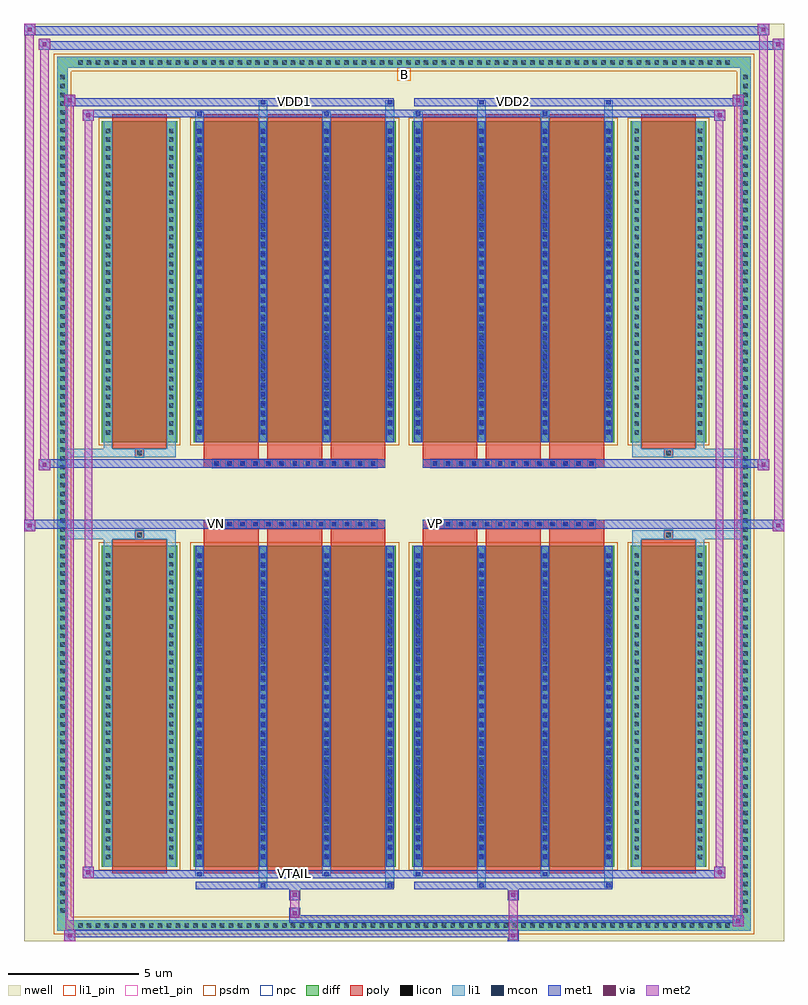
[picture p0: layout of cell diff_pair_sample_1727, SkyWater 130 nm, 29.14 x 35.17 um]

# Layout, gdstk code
import gdstk
lib = gdstk.Library(unit=1e-6, precision=5e-09)
def R(c, l, rs):  # rectangles x0, y0, x1, y1
    for r in rs: c.add(gdstk.rectangle(r[:2], r[2:], *l))
def A(c, l, x, y, w, h, nx, ny, dx, dy):  # array of equal rectangles
    R(c, l, [(x+i*dx, y+j*dy, x+i*dx+w, y+j*dy+h) for i in range(nx) for j in range(ny)])
def P(c, l, *ps):  # polygons
    for p in ps: c.add(gdstk.Polygon(p, *l))
nwell = (64, 20)
diff = (65, 20)
poly = (66, 20)
licon = (66, 44)
li1_pin = (67, 16)
li1 = (67, 20)
mcon = (67, 44)
met1_pin = (68, 16)
met1 = (68, 20)
via = (68, 44)
met2 = (69, 20)
psdm = (94, 20)
npc = (95, 20)

diff_pair_sample_1727 = lib.new_cell('diff_pair_sample_1727')
R(diff_pair_sample_1727, nwell, [(-14.57,-17.15,14.57,18.02), (-11.89,-15.34,-0.01,-0.8), (0.01,-15.34,11.89,-0.8), (-11.89,0.8,-0.01,15.34), (0.01,0.8,11.89,15.34)])
A(diff_pair_sample_1727, diff, -12.615, -16.75, 0.41, 0.41, 74, 2, 0.34, 33.09)
A(diff_pair_sample_1727, diff, -13.3, -16.185, 0.41, 0.41, 1, 95, 0, 0.34)
A(diff_pair_sample_1727, diff, 12.89, -16.185, 0.41, 0.41, 1, 95, 0, 0.34)
R(diff_pair_sample_1727, diff, [(-12.615,-16.75,12.615,-16.34), (-13.3,-16.185,-12.89,16.185), (12.89,-16.185,13.3,16.185), (-11.58,-14.295,-8.7,-1.985), (-8.06,-14.295,-0.32,-1.985), (0.32,-14.295,8.06,-1.985), (8.7,-14.295,11.58,-1.985), (-11.58,1.985,-8.7,14.295), (-8.06,1.985,-0.32,14.295), (0.32,1.985,8.06,14.295), (8.7,1.985,11.58,14.295), (-12.615,16.34,12.615,16.75)])
P(diff_pair_sample_1727, diff, [(13.3,16.75),(-13.3,16.75),(-13.3,-16.34),(-12.89,-16.34),(-12.89,16.34),(12.89,16.34),(12.89,-16.34),(-12.89,-16.34),(-13.3,-16.34),(-13.3,-16.75),(13.3,-16.75)])
A(diff_pair_sample_1727, poly, -7.67, -14.545, 2.1, 12.81, 3, 2, 2.43, 16.28)
A(diff_pair_sample_1727, poly, 0.71, -14.545, 2.1, 12.81, 3, 2, 2.43, 16.28)
A(diff_pair_sample_1727, poly, -7.67, -1.735, 2.1, 0.405, 3, 2, 2.43, 3.065)
A(diff_pair_sample_1727, poly, 0.71, -1.735, 2.1, 0.405, 3, 2, 2.43, 3.065)
A(diff_pair_sample_1727, poly, -7.355, -1.33, 0.33, 0.33, 13, 2, 0.5, 2.33)
A(diff_pair_sample_1727, poly, 1.025, -1.33, 0.33, 0.33, 13, 2, 0.5, 2.33)
R(diff_pair_sample_1727, poly, [(-11.19,-14.545,-9.09,-1.735), (9.09,-14.545,11.19,-1.735), (-10.305,-1.735,-9.975,-1.405), (-10.305,-1.735,-9.975,-1.405), (9.975,-1.735,10.305,-1.405), (9.975,-1.735,10.305,-1.405), (-7.67,-1.33,-0.71,-1), (0.71,-1.33,7.67,-1), (-7.67,1,-0.71,1.33), (0.71,1,7.67,1.33), (-10.305,1.405,-9.975,1.735), (-10.305,1.405,-9.975,1.735), (9.975,1.405,10.305,1.735), (9.975,1.405,10.305,1.735), (-11.19,1.735,-9.09,14.545), (9.09,1.735,11.19,14.545)])
A(diff_pair_sample_1727, licon, -12.495, -16.63, 0.17, 0.17, 74, 2, 0.34, 33.09)
A(diff_pair_sample_1727, licon, -13.18, -16.065, 0.17, 0.17, 1, 95, 0, 0.34)
A(diff_pair_sample_1727, licon, 13.01, -16.065, 0.17, 0.17, 1, 95, 0, 0.34)
A(diff_pair_sample_1727, licon, -11.44, -14.005, 0.17, 0.17, 1, 35, 0, 0.34)
A(diff_pair_sample_1727, licon, -9.01, -14.005, 0.17, 0.17, 1, 35, 0, 0.34)
A(diff_pair_sample_1727, licon, -7.92, -14.005, 0.17, 0.17, 4, 35, 2.43, 0.34)
A(diff_pair_sample_1727, licon, 0.46, -14.005, 0.17, 0.17, 4, 35, 2.43, 0.34)
A(diff_pair_sample_1727, licon, 8.84, -14.005, 0.17, 0.17, 1, 35, 0, 0.34)
A(diff_pair_sample_1727, licon, 11.27, -14.005, 0.17, 0.17, 1, 35, 0, 0.34)
A(diff_pair_sample_1727, licon, -7.275, -1.25, 0.17, 0.17, 13, 2, 0.5, 2.33)
A(diff_pair_sample_1727, licon, 1.105, -1.25, 0.17, 0.17, 13, 2, 0.5, 2.33)
A(diff_pair_sample_1727, licon, -11.44, 2.275, 0.17, 0.17, 1, 35, 0, 0.34)
A(diff_pair_sample_1727, licon, -9.01, 2.275, 0.17, 0.17, 1, 35, 0, 0.34)
A(diff_pair_sample_1727, licon, -7.92, 2.275, 0.17, 0.17, 4, 35, 2.43, 0.34)
A(diff_pair_sample_1727, licon, 0.46, 2.275, 0.17, 0.17, 4, 35, 2.43, 0.34)
A(diff_pair_sample_1727, licon, 8.84, 2.275, 0.17, 0.17, 1, 35, 0, 0.34)
A(diff_pair_sample_1727, licon, 11.27, 2.275, 0.17, 0.17, 1, 35, 0, 0.34)
R(diff_pair_sample_1727, licon, [(-10.225,-1.655,-10.055,-1.485), (10.055,-1.655,10.225,-1.485), (-10.225,1.485,-10.055,1.655), (10.055,1.485,10.225,1.655)])
R(diff_pair_sample_1727, li1_pin, [(-0.25,15.84,0.25,16.34)])
A(diff_pair_sample_1727, li1, -12.575, -16.71, 0.33, 0.33, 74, 2, 0.34, 33.09)
A(diff_pair_sample_1727, li1, -13.26, -16.145, 0.33, 0.33, 1, 95, 0, 0.34)
A(diff_pair_sample_1727, li1, 12.93, -16.145, 0.33, 0.33, 1, 95, 0, 0.34)
A(diff_pair_sample_1727, li1, -8, -14.295, 0.33, 12.31, 4, 2, 2.43, 16.28)
A(diff_pair_sample_1727, li1, 0.38, -14.295, 0.33, 12.31, 4, 2, 2.43, 16.28)
A(diff_pair_sample_1727, li1, -11.52, -14.085, 0.33, 0.33, 1, 35, 0, 0.34)
A(diff_pair_sample_1727, li1, -9.09, -14.085, 0.33, 0.33, 1, 35, 0, 0.34)
A(diff_pair_sample_1727, li1, -8, -14.085, 0.33, 0.33, 4, 35, 2.43, 0.34)
A(diff_pair_sample_1727, li1, 0.38, -14.085, 0.33, 0.33, 4, 35, 2.43, 0.34)
A(diff_pair_sample_1727, li1, 8.76, -14.085, 0.33, 0.33, 1, 35, 0, 0.34)
A(diff_pair_sample_1727, li1, 11.19, -14.085, 0.33, 0.33, 1, 35, 0, 0.34)
A(diff_pair_sample_1727, li1, -7.92, -13.985, 0.17, 0.17, 4, 33, 2.43, 0.36)
A(diff_pair_sample_1727, li1, -7.92, -13.985, 0.17, 11.69, 4, 2, 2.43, 16.28)
A(diff_pair_sample_1727, li1, 0.46, -13.985, 0.17, 0.17, 4, 33, 2.43, 0.36)
A(diff_pair_sample_1727, li1, 0.46, -13.985, 0.17, 11.69, 4, 2, 2.43, 16.28)
A(diff_pair_sample_1727, li1, -7.355, -1.33, 0.33, 0.33, 13, 2, 0.5, 2.33)
A(diff_pair_sample_1727, li1, 1.025, -1.33, 0.33, 0.33, 13, 2, 0.5, 2.33)
A(diff_pair_sample_1727, li1, -11.52, 2.195, 0.33, 0.33, 1, 35, 0, 0.34)
A(diff_pair_sample_1727, li1, -9.09, 2.195, 0.33, 0.33, 1, 35, 0, 0.34)
A(diff_pair_sample_1727, li1, -8, 2.195, 0.33, 0.33, 4, 35, 2.43, 0.34)
A(diff_pair_sample_1727, li1, 0.38, 2.195, 0.33, 0.33, 4, 35, 2.43, 0.34)
A(diff_pair_sample_1727, li1, 8.76, 2.195, 0.33, 0.33, 1, 35, 0, 0.34)
A(diff_pair_sample_1727, li1, 11.19, 2.195, 0.33, 0.33, 1, 35, 0, 0.34)
A(diff_pair_sample_1727, li1, -7.92, 2.295, 0.17, 0.17, 4, 33, 2.43, 0.36)
A(diff_pair_sample_1727, li1, 0.46, 2.295, 0.17, 0.17, 4, 33, 2.43, 0.36)
R(diff_pair_sample_1727, li1, [(-13.3,-16.75,-12.89,-16.34), (-13.3,-16.75,-12.89,-16.34), (-12.89,-16.75,12.89,-16.34), (12.89,-16.75,13.3,-16.34), (12.89,-16.75,13.3,-16.34), (-13.3,-16.34,-12.89,16.34), (12.89,-16.34,13.3,16.34), (-5.57,-15.1,-5.24,-14.295), (-5.49,-15.1,-5.32,-14.93), (-0.71,-15.1,-0.38,-14.295), (-0.63,-15.1,-0.46,-14.93), (2.81,-15.1,3.14,-14.295), (2.89,-15.1,3.06,-14.93), (7.67,-15.1,8,-14.295), (7.75,-15.1,7.92,-14.93), (-8,-14.67,-7.67,-14.295), (-7.92,-14.67,-7.75,-14.5), (-3.14,-14.67,-2.81,-14.295), (-3.06,-14.67,-2.89,-14.5), (0.38,-14.67,0.71,-14.295), (0.46,-14.67,0.63,-14.5), (5.24,-14.67,5.57,-14.295), (5.32,-14.67,5.49,-14.5), (-11.52,-14.295,-11.19,-1.985), (-9.09,-14.295,-8.76,-1.985), (8.76,-14.295,9.09,-1.985), (11.19,-14.295,11.52,-1.985), (-11.52,-1.985,-11.19,-1.405), (-9.09,-1.985,-8.76,-1.405), (8.76,-1.985,9.09,-1.405), (11.19,-1.985,11.52,-1.405), (-13.3,-1.735,-10.305,-1.405), (-11.52,-1.735,-10.305,-1.405), (-10.305,-1.735,-9.975,-1.405), (-9.975,-1.735,-8.76,-1.405), (8.76,-1.735,9.975,-1.405), (9.975,-1.735,10.305,-1.405), (9.975,-1.735,13.3,-1.405), (10.305,-1.735,11.52,-1.405), (-13.3,1.405,-10.305,1.735), (-11.52,1.405,-10.305,1.735), (-11.52,1.405,-11.19,1.985), (-10.305,1.405,-9.975,1.735), (-9.975,1.405,-8.76,1.735), (-9.09,1.405,-8.76,1.985), (8.76,1.405,9.975,1.735), (8.76,1.405,9.09,1.985), (9.975,1.405,10.305,1.735), (9.975,1.405,13.3,1.735), (10.305,1.405,11.52,1.735), (11.19,1.405,11.52,1.985), (-11.52,1.985,-11.19,14.295), (-9.09,1.985,-8.76,14.295), (8.76,1.985,9.09,14.295), (11.19,1.985,11.52,14.295), (-8,14.295,-7.67,14.67), (-5.57,14.295,-5.24,15.1), (-3.14,14.295,-2.81,14.67), (-0.71,14.295,-0.38,15.1), (0.38,14.295,0.71,14.67), (2.81,14.295,3.14,15.1), (5.24,14.295,5.57,14.67), (7.67,14.295,8,15.1), (-7.92,14.5,-7.75,14.67), (-3.06,14.5,-2.89,14.67), (0.46,14.5,0.63,14.67), (5.32,14.5,5.49,14.67), (-5.49,14.93,-5.32,15.1), (-0.63,14.93,-0.46,15.1), (2.89,14.93,3.06,15.1), (7.75,14.93,7.92,15.1), (-13.3,16.34,-12.89,16.75), (-13.3,16.34,-12.89,16.75), (-12.89,16.34,12.89,16.75), (12.89,16.34,13.3,16.75), (12.89,16.34,13.3,16.75)])
A(diff_pair_sample_1727, mcon, -7.92, -13.985, 0.17, 0.17, 4, 33, 2.43, 0.36)
A(diff_pair_sample_1727, mcon, 0.46, -13.985, 0.17, 0.17, 4, 33, 2.43, 0.36)
A(diff_pair_sample_1727, mcon, -7.275, -1.25, 0.17, 0.17, 13, 2, 0.5, 2.33)
A(diff_pair_sample_1727, mcon, 1.105, -1.25, 0.17, 0.17, 13, 2, 0.5, 2.33)
A(diff_pair_sample_1727, mcon, -7.92, 2.295, 0.17, 0.17, 4, 33, 2.43, 0.36)
A(diff_pair_sample_1727, mcon, 0.46, 2.295, 0.17, 0.17, 4, 33, 2.43, 0.36)
R(diff_pair_sample_1727, mcon, [(-5.49,-15.1,-5.32,-14.93), (-0.63,-15.1,-0.46,-14.93), (2.89,-15.1,3.06,-14.93), (7.75,-15.1,7.92,-14.93), (-7.92,-14.67,-7.75,-14.5), (-3.06,-14.67,-2.89,-14.5), (0.46,-14.67,0.63,-14.5), (5.32,-14.67,5.49,-14.5), (-7.92,14.5,-7.75,14.67), (-3.06,14.5,-2.89,14.67), (0.46,14.5,0.63,14.67), (5.32,14.5,5.49,14.67), (-5.49,14.93,-5.32,15.1), (-0.63,14.93,-0.46,15.1), (2.89,14.93,3.06,15.1), (7.75,14.93,7.92,15.1)])
R(diff_pair_sample_1727, met1_pin, [(-4.325,-14.71,-4.055,-14.44), (-7.325,-1.29,-7.055,-1.02), (1.055,-1.29,1.325,-1.02), (-4.325,14.89,-4.055,15.16), (4.055,14.89,4.325,15.16)])
A(diff_pair_sample_1727, met1, -7.98, -14.295, 0.29, 12.31, 4, 2, 2.43, 16.28)
A(diff_pair_sample_1727, met1, 0.4, -14.295, 0.29, 12.31, 4, 2, 2.43, 16.28)
A(diff_pair_sample_1727, met1, -7.98, -14.045, 0.29, 0.29, 4, 33, 2.43, 0.36)
A(diff_pair_sample_1727, met1, 0.4, -14.045, 0.29, 0.29, 4, 33, 2.43, 0.36)
A(diff_pair_sample_1727, met1, -7.335, -1.31, 0.29, 0.29, 13, 2, 0.5, 2.33)
A(diff_pair_sample_1727, met1, 1.045, -1.31, 0.29, 0.29, 13, 2, 0.5, 2.33)
A(diff_pair_sample_1727, met1, -7.98, 2.235, 0.29, 0.29, 4, 33, 2.43, 0.36)
A(diff_pair_sample_1727, met1, 0.4, 2.235, 0.29, 0.29, 4, 33, 2.43, 0.36)
R(diff_pair_sample_1727, met1, [(-13.03,-17.15,-12.6,-16.72), (3.975,-17.15,4.405,-16.72), (-13.03,-17.01,4.405,-16.72), (12.6,-16.58,13.03,-16.15), (-4.405,-16.44,13.03,-16.15), (-4.405,-16.3,-3.975,-15.87), (-4.405,-15.59,-3.975,-15.16), (3.975,-15.59,4.405,-15.16), (-7.98,-15.16,-0.4,-14.87), (-5.55,-15.16,-5.26,-14.87), (-0.69,-15.16,-0.4,-14.87), (0.4,-15.16,7.98,-14.87), (2.83,-15.16,3.12,-14.87), (7.69,-15.16,7.98,-14.87), (-12.32,-14.73,-11.89,-14.3), (-12.32,-14.73,-7.98,-14.44), (-7.98,-14.73,-7.69,-14.44), (-7.98,-14.73,-0.4,-14.44), (-3.12,-14.73,-2.83,-14.44), (-0.4,-14.73,0.4,-14.44), (0.4,-14.73,0.69,-14.44), (0.4,-14.73,7.98,-14.44), (5.26,-14.73,5.55,-14.44), (7.98,-14.73,12.32,-14.44), (11.89,-14.73,12.32,-14.3), (-14.57,-1.43,-14.14,-1), (14.14,-1.43,14.57,-1), (-14.57,-1.33,-0.71,-1), (-7.67,-1.33,-0.71,-1), (0.71,-1.33,7.67,-1), (0.71,-1.33,14.57,-1), (-14,0.9,-13.57,1.33), (13.57,0.9,14,1.33), (-14,1,-7.67,1.33), (-7.67,1,-0.71,1.33), (0.71,1,7.67,1.33), (7.67,1,14,1.33), (-12.32,14.3,-11.89,14.73), (11.89,14.3,12.32,14.73), (-12.32,14.44,-7.98,14.73), (-7.98,14.44,-7.69,14.73), (-7.98,14.44,-0.4,14.73), (-3.12,14.44,-2.83,14.73), (-0.4,14.44,0.4,14.73), (0.4,14.44,0.69,14.73), (0.4,14.44,7.98,14.73), (5.26,14.44,5.55,14.73), (7.98,14.44,12.32,14.73), (-13.03,14.87,-12.6,15.3), (-13.03,14.87,-7.98,15.16), (-7.98,14.87,-0.4,15.16), (-5.55,14.87,-5.26,15.16), (-0.69,14.87,-0.4,15.16), (0.4,14.87,7.98,15.16), (2.83,14.87,3.12,15.16), (7.69,14.87,7.98,15.16), (7.98,14.87,13.03,15.16), (12.6,14.87,13.03,15.3), (-14,17.02,-13.57,17.45), (-14,17.02,-11.89,17.35), (-11.89,17.02,11.89,17.35), (11.89,17.02,14.57,17.35), (14.14,17.02,14.57,17.45), (-14.57,17.59,-14.14,18.02), (-14.57,17.59,-11.89,17.92), (-11.89,17.59,11.89,17.92), (11.89,17.59,14,17.92), (13.57,17.59,14,18.02)])
R(diff_pair_sample_1727, via, [(-12.89,-17.01,-12.74,-16.86), (4.115,-17.01,4.265,-16.86), (12.74,-16.44,12.89,-16.29), (-4.265,-16.16,-4.115,-16.01), (-4.265,-15.45,-4.115,-15.3), (4.115,-15.45,4.265,-15.3), (-12.18,-14.59,-12.03,-14.44), (12.03,-14.59,12.18,-14.44), (-14.43,-1.29,-14.28,-1.14), (14.28,-1.29,14.43,-1.14), (-13.86,1.04,-13.71,1.19), (13.71,1.04,13.86,1.19), (-12.18,14.44,-12.03,14.59), (12.03,14.44,12.18,14.59), (-12.89,15.01,-12.74,15.16), (12.74,15.01,12.89,15.16), (-13.86,17.16,-13.71,17.31), (14.28,17.16,14.43,17.31), (-14.43,17.73,-14.28,17.88), (13.71,17.73,13.86,17.88)])
R(diff_pair_sample_1727, met2, [(-13.03,-17.15,-12.6,-16.72), (-12.96,-17.15,-12.67,15.3), (-12.67,-17.15,-12.6,-16.72), (-12.98,-17.1,-12.65,-16.77), (4.025,-17.1,4.355,-16.77), (4.025,-16.77,4.355,-15.54), (12.6,-16.58,13.03,-16.15), (12.67,-16.58,12.96,15.3), (12.96,-16.58,13.03,-16.15), (12.65,-16.53,12.98,-16.2), (-4.355,-16.25,-4.025,-15.92), (-4.355,-15.92,-4.025,-15.54), (-4.355,-15.54,-4.025,-15.21), (4.025,-15.54,4.355,-15.21), (-12.32,-14.73,-11.89,-14.3), (-12.25,-14.73,-11.96,14.73), (-11.96,-14.73,-11.89,-14.3), (11.89,-14.73,12.32,-14.3), (11.96,-14.73,12.25,14.73), (12.25,-14.73,12.32,-14.3), (-12.27,-14.68,-11.94,-14.35), (11.94,-14.68,12.27,-14.35), (-14.57,-1.43,-14.14,-1), (-14.52,-1.43,-14.19,18.02), (-14.19,-1.43,-14.14,-1), (14.14,-1.43,14.57,-1), (14.19,-1.43,14.52,17.45), (14.52,-1.43,14.57,-1), (-14.52,-1.38,-14.19,-1.05), (14.19,-1.38,14.52,-1.05), (-14,0.9,-13.57,1.33), (-13.95,0.9,-13.62,17.45), (-13.62,0.9,-13.57,1.33), (13.57,0.9,14,1.33), (13.62,0.9,13.95,18.02), (13.95,0.9,14,1.33), (-13.95,0.95,-13.62,1.28), (13.62,0.95,13.95,1.28), (-12.32,14.3,-11.89,14.73), (-11.96,14.3,-11.89,14.73), (11.89,14.3,12.32,14.73), (12.25,14.3,12.32,14.73), (-12.27,14.35,-11.94,14.68), (11.94,14.35,12.27,14.68), (-13.03,14.87,-12.6,15.3), (-12.67,14.87,-12.6,15.3), (12.6,14.87,13.03,15.3), (12.96,14.87,13.03,15.3), (-12.98,14.92,-12.65,15.25), (12.65,14.92,12.98,15.25), (-14,17.02,-13.57,17.45), (-13.62,17.02,-13.57,17.45), (14.14,17.02,14.57,17.45), (14.52,17.02,14.57,17.45), (-13.95,17.07,-13.62,17.4), (14.19,17.07,14.52,17.4), (-14.57,17.59,-14.14,18.02), (-14.19,17.59,-14.14,18.02), (13.57,17.59,14,18.02), (13.95,17.59,14,18.02), (-14.52,17.64,-14.19,17.97), (13.62,17.64,13.95,17.97)])
R(diff_pair_sample_1727, psdm, [(-11.71,-14.425,-8.57,-1.855), (-8.19,-14.425,-0.19,-1.855), (0.19,-14.425,8.19,-1.855), (8.57,-14.425,11.71,-1.855), (-11.71,1.855,-8.57,14.425), (-8.19,1.855,-0.19,14.425), (0.19,1.855,8.19,14.425), (8.57,1.855,11.71,14.425)])
P(diff_pair_sample_1727, psdm, [(13.43,16.88),(-13.43,16.88),(-13.43,-16.21),(-12.76,-16.21),(-12.76,16.21),(12.76,16.21),(12.76,-16.21),(-12.76,-16.21),(-13.43,-16.21),(-13.43,-16.88),(13.43,-16.88)])
A(diff_pair_sample_1727, npc, -7.375, -1.35, 0.37, 0.37, 13, 2, 0.5, 2.33)
A(diff_pair_sample_1727, npc, 1.005, -1.35, 0.37, 0.37, 13, 2, 0.5, 2.33)
R(diff_pair_sample_1727, npc, [(-10.325,-1.755,-9.955,-1.385), (9.955,-1.755,10.325,-1.385), (-7.375,-1.35,-6.505,-0.98), (-7.375,-1.35,-6.505,-0.98), (-6.875,-1.35,-6.005,-0.98), (-6.875,-1.35,-6.005,-0.98), (-6.375,-1.35,-5.505,-0.98), (-6.375,-1.35,-5.505,-0.98), (-5.875,-1.35,-5.005,-0.98), (-5.875,-1.35,-5.005,-0.98), (-5.375,-1.35,-4.505,-0.98), (-5.375,-1.35,-4.505,-0.98), (-4.875,-1.35,-4.005,-0.98), (-4.875,-1.35,-4.005,-0.98), (-4.375,-1.35,-3.505,-0.98), (-4.375,-1.35,-3.505,-0.98), (-3.875,-1.35,-3.005,-0.98), (-3.875,-1.35,-3.005,-0.98), (-3.375,-1.35,-2.505,-0.98), (-3.375,-1.35,-2.505,-0.98), (-2.875,-1.35,-2.005,-0.98), (-2.875,-1.35,-2.005,-0.98), (-2.375,-1.35,-1.505,-0.98), (-2.375,-1.35,-1.505,-0.98), (-1.875,-1.35,-1.005,-0.98), (-1.875,-1.35,-1.005,-0.98), (1.005,-1.35,1.875,-0.98), (1.005,-1.35,1.875,-0.98), (1.505,-1.35,2.375,-0.98), (1.505,-1.35,2.375,-0.98), (2.005,-1.35,2.875,-0.98), (2.005,-1.35,2.875,-0.98), (2.505,-1.35,3.375,-0.98), (2.505,-1.35,3.375,-0.98), (3.005,-1.35,3.875,-0.98), (3.005,-1.35,3.875,-0.98), (3.505,-1.35,4.375,-0.98), (3.505,-1.35,4.375,-0.98), (4.005,-1.35,4.875,-0.98), (4.005,-1.35,4.875,-0.98), (4.505,-1.35,5.375,-0.98), (4.505,-1.35,5.375,-0.98), (5.005,-1.35,5.875,-0.98), (5.005,-1.35,5.875,-0.98), (5.505,-1.35,6.375,-0.98), (5.505,-1.35,6.375,-0.98), (6.005,-1.35,6.875,-0.98), (6.005,-1.35,6.875,-0.98), (6.505,-1.35,7.375,-0.98), (6.505,-1.35,7.375,-0.98), (-7.375,0.98,-6.505,1.35), (-7.375,0.98,-6.505,1.35), (-6.875,0.98,-6.005,1.35), (-6.875,0.98,-6.005,1.35), (-6.375,0.98,-5.505,1.35), (-6.375,0.98,-5.505,1.35), (-5.875,0.98,-5.005,1.35), (-5.875,0.98,-5.005,1.35), (-5.375,0.98,-4.505,1.35), (-5.375,0.98,-4.505,1.35), (-4.875,0.98,-4.005,1.35), (-4.875,0.98,-4.005,1.35), (-4.375,0.98,-3.505,1.35), (-4.375,0.98,-3.505,1.35), (-3.875,0.98,-3.005,1.35), (-3.875,0.98,-3.005,1.35), (-3.375,0.98,-2.505,1.35), (-3.375,0.98,-2.505,1.35), (-2.875,0.98,-2.005,1.35), (-2.875,0.98,-2.005,1.35), (-2.375,0.98,-1.505,1.35), (-2.375,0.98,-1.505,1.35), (-1.875,0.98,-1.005,1.35), (-1.875,0.98,-1.005,1.35), (1.005,0.98,1.875,1.35), (1.005,0.98,1.875,1.35), (1.505,0.98,2.375,1.35), (1.505,0.98,2.375,1.35), (2.005,0.98,2.875,1.35), (2.005,0.98,2.875,1.35), (2.505,0.98,3.375,1.35), (2.505,0.98,3.375,1.35), (3.005,0.98,3.875,1.35), (3.005,0.98,3.875,1.35), (3.505,0.98,4.375,1.35), (3.505,0.98,4.375,1.35), (4.005,0.98,4.875,1.35), (4.005,0.98,4.875,1.35), (4.505,0.98,5.375,1.35), (4.505,0.98,5.375,1.35), (5.005,0.98,5.875,1.35), (5.005,0.98,5.875,1.35), (5.505,0.98,6.375,1.35), (5.505,0.98,6.375,1.35), (6.005,0.98,6.875,1.35), (6.005,0.98,6.875,1.35), (6.505,0.98,7.375,1.35), (6.505,0.98,7.375,1.35), (-10.325,1.385,-9.955,1.755), (9.955,1.385,10.325,1.755)])
diff_pair_sample_1727.add(gdstk.Label('VTAIL', (-4.19,-14.575), layer=68, texttype=5))
diff_pair_sample_1727.add(gdstk.Label('VN', (-7.19,-1.155), layer=68, texttype=5))
diff_pair_sample_1727.add(gdstk.Label('VP', (1.19,-1.155), layer=68, texttype=5))
diff_pair_sample_1727.add(gdstk.Label('B', (0,16.09), layer=67, texttype=5))
diff_pair_sample_1727.add(gdstk.Label('VDD2', (4.19,15.025), layer=68, texttype=5))
diff_pair_sample_1727.add(gdstk.Label('VDD1', (-4.19,15.025), layer=68, texttype=5))

lib.write_gds('diff_pair_sample_1727.gds')
